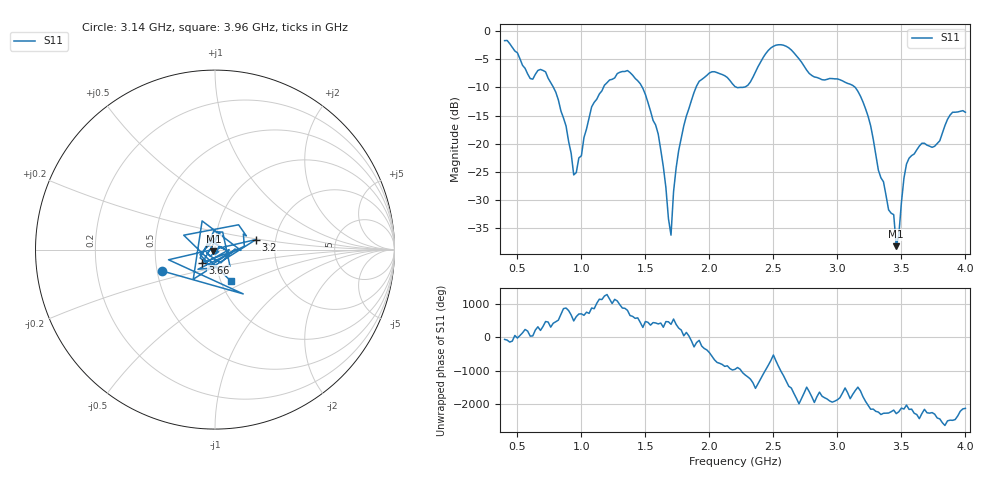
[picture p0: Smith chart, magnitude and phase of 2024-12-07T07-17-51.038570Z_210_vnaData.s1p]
!Created with skrf (http://scikit-rf.org).
# Hz S RI R 50.0
!freq ReS11 ImS11
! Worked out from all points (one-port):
!   181 points, 400 MHz to 4 GHz, reference 50 ohm
!   lowest |S11| = -38.2 dB at 3.46 GHz (marker M1), VSWR 1.03, Z = 49.1 - j0.87 ohm
!   |S11| at or under -10 dB: 781.9 MHz to 1.172 GHz (390.1 MHz wide, 39.9 % of centre); 1.476 GHz to 1.895 GHz (419 MHz wide, 24.9 % of centre); 3.14 GHz to end of sweep (the widest 3 of 4)
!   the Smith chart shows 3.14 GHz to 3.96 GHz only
!   S11 on the Smith chart (normalised r, x): 3.14 GHz: 0.53, -0.14; 3.2 GHz: 1.58, +0.19; 3.66 GHz: 0.86, -0.13; 3.96 GHz: 1.11, -0.40
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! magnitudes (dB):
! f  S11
! 400 MHz  -1.7
! 600 MHz  -8.4
! 720 MHz  -7.2
! 860 MHz  -15.4
! 940 MHz  -25.5
! 1.08 GHz  -13.4
! 1.3 GHz  -7.3
! 1.46 GHz  -9.3
! 1.58 GHz  -16.7
! 1.7 GHz  -36.2
! 1.72 GHz  -28.5
! 1.76 GHz  -21.2
! 1.92 GHz  -8.9
! 2.2 GHz  -9.8
! 2.5 GHz  -2.7
! 2.66 GHz  -3.8
! 3.1 GHz  -9.4
! 3.14 GHz  -10.0
! 3.2 GHz  -12.6
! 3.4 GHz  -31.7
! 3.44 GHz  -32.6
! 3.46 GHz  -38.2
! 3.52 GHz  -26.1
! 3.56 GHz  -22.5
! 3.66 GHz  -19.9
! 3.76 GHz  -20.4
! 3.96 GHz  -14.2
! 4 GHz  -14.4
